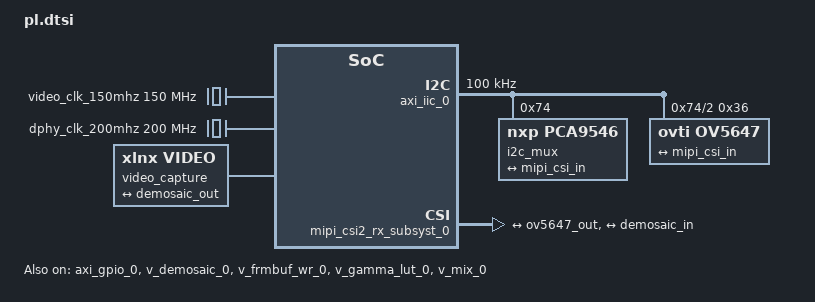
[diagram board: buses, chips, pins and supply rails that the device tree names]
/*
 * KV260 CSI2 Mixer Device Tree Overlay
 *
 * PHYSICAL HARDWARE PATH:
 *
 *   OV5647
 *      |
 *      v
 *   MIPI CSI-2 RX
 *      |
 *      v
 *   Demosaic
 *      |
 *      v
 *   Gamma LUT
 *      |
 *      v
 *   AXIS Broadcaster
 *      |             |
 *      v             v
 *   Mixer Layer 0   Mixer Layer 1
 *          \         /
 *           \       /
 *              Mixer
 *                |
 *                v
 *       Frame Buffer Write
 *                |
 *                v
 *               DDR
 *
 *
 * V4L2 MEDIA GRAPH:
 *
 *   OV5647
 *      |
 *      v
 *   MIPI CSI-2 RX
 *      |
 *      v
 *   Demosaic
 *      |
 *      v
 *   video_capture
 *      |
 *      +---- DMA ----> Frame Buffer Write
 *
 *
 * The V4L2 graph intentionally matches the previously working
 * csi2testing application.
 *
 * Gamma, AXIS Broadcaster and Mixer are physically in the stream,
 * but are not placed downstream of Demosaic in the xlnx,video
 * media graph.
 *
 *
 * I2C:
 *
 * AXI IIC 0x80010000
 *      |
 *      v
 * PCA9546 @ 0x74
 *      |
 * channel 2
 *      |
 *      v
 * OV5647 @ 0x36
 *
 *
 * Resets:
 *
 * GPIO[0] -> Demosaic
 * GPIO[1] -> Frame Buffer Write
 * GPIO[3] -> Gamma LUT
 * GPIO[4] -> Video Mixer
 */


/dts-v1/;
/plugin/;


/* ------------------------------------------------------------------------- */
/* FPGA region                                                               */
/* ------------------------------------------------------------------------- */

&fpga_full {
	firmware-name = "csi2mix_wrapper.bit.bin";
	resets = <&zynqmp_reset 116>;


	/* ----------------------------------------------------------------- */
	/* FCLK input to PL clocking logic                                   */
	/* ----------------------------------------------------------------- */

	clocking0: clocking0 {
		#clock-cells = <0>;

		assigned-clock-rates = <99999001>;
		assigned-clocks = <&zynqmp_clk 71>;

		clock-output-names = "fabric_clk";
		clocks = <&zynqmp_clk 71>;

		compatible = "xlnx,fclk";
	};


	/* ----------------------------------------------------------------- */
	/* AFI configuration                                                 */
	/* ----------------------------------------------------------------- */

	afi0: afi0 {
		compatible = "xlnx,afi-fpga";

		config-afi =
			<0 0>,
			<1 0>,
			<2 0>,
			<3 0>,
			<4 0>,
			<5 0>,
			<6 0>,
			<7 0>,
			<8 0>,
			<9 0>,
			<10 0>,
			<11 0>,
			<12 0>,
			<13 0>,
			<14 0xa00>,
			<15 0x000>;

		resets =
			<&zynqmp_reset 116>,
			<&zynqmp_reset 117>,
			<&zynqmp_reset 118>,
			<&zynqmp_reset 119>;
	};


	/* ----------------------------------------------------------------- */
	/* Physical Clocking Wizard outputs                                  */
	/*                                                                   */
	/* These are NOT fixed-factor derivatives of FCLK0 in Linux.         */
	/* They describe the actual physical clocks generated in the PL.     */
	/* ----------------------------------------------------------------- */

	video_clk_150mhz: csi2-video-clock-150mhz {
		compatible = "fixed-clock";
		#clock-cells = <0>;

		clock-frequency = <150000000>;
		clock-output-names = "csi2mix-video-150mhz";
	};


	dphy_clk_200mhz: csi2-dphy-clock-200mhz {
		compatible = "fixed-clock";
		#clock-cells = <0>;

		clock-frequency = <200000000>;
		clock-output-names = "csi2mix-dphy-200mhz";
	};


	/* ----------------------------------------------------------------- */
	/* OV5647 external XCLK                                              */
	/* ----------------------------------------------------------------- */

	ov5647_xclk: ov5647-xclk {
		compatible = "fixed-clock";
		#clock-cells = <0>;

		clock-frequency = <25000000>;
		clock-output-names = "csi2mix-ov5647-xclk";
	};


	/* ----------------------------------------------------------------- */
	/* Xilinx V4L2 composite capture device                              */
	/*                                                                   */
	/* This intentionally matches the working csi2testing topology.      */
	/*                                                                   */
	/* V4L2 graph terminates at Demosaic.                                */
	/* Frame Buffer Write is referenced separately as the DMA provider.  */
	/* ----------------------------------------------------------------- */

	video_capture: video-capture {
		compatible = "xlnx,video";

		dmas = <&v_frmbuf_wr_0 0>;
		dma-names = "port0";

		status = "okay";

		ports {
			#address-cells = <1>;
			#size-cells = <0>;

			port@0 {
				reg = <0>;
				direction = "input";

				video_capture_in: endpoint {
					remote-endpoint = <&demosaic_out>;
				};
			};
		};
	};
};


/* ------------------------------------------------------------------------- */
/* Programmable-logic peripherals                                            */
/* ------------------------------------------------------------------------- */

&amba {
	#address-cells = <2>;
	#size-cells = <2>;


	/* ----------------------------------------------------------------- */
	/* AXI GPIO                                                          */
	/* ----------------------------------------------------------------- */

	axi_gpio_0: gpio@80000000 {
		compatible =
			"xlnx,axi-gpio-2.0",
			"xlnx,xps-gpio-1.00.a";

		reg = <0x0 0x80000000 0x0 0x10000>;

		clock-names = "s_axi_aclk";
		clocks = <&zynqmp_clk 71>;

		gpio-controller;
		#gpio-cells = <2>;

		xlnx,all-inputs = <0x0>;
		xlnx,all-inputs-2 = <0x0>;

		xlnx,all-outputs = <0x1>;
		xlnx,all-outputs-2 = <0x0>;

		xlnx,dout-default = <0xffffffff>;
		xlnx,dout-default-2 = <0x00000000>;

		/*
		 * GPIO lines 0 through 4 exist in the regenerated design.
		 */
		xlnx,gpio-width = <0x5>;
		xlnx,gpio2-width = <0x20>;

		xlnx,interrupt-present = <0x0>;
		xlnx,is-dual = <0x0>;

		xlnx,tri-default = <0xffffffff>;
		xlnx,tri-default-2 = <0xffffffff>;

		status = "okay";
	};


	/* ----------------------------------------------------------------- */
	/* AXI IIC                                                           */
	/* ----------------------------------------------------------------- */

	axi_iic_0: i2c@80010000 {
		compatible =
			"xlnx,axi-iic-2.1",
			"xlnx,xps-iic-2.00.a";

		reg = <0x0 0x80010000 0x0 0x10000>;

		clock-names = "s_axi_aclk";
		clocks = <&zynqmp_clk 71>;

		/*
		 * Retain the same 100 kHz rate used by the working design.
		 */
		clock-frequency = <100000>;

		interrupt-names = "iic2intc_irpt";
		interrupt-parent = <&gic>;
		interrupts = <0 91 4>;

		#address-cells = <1>;
		#size-cells = <0>;

		status = "okay";


		/* --------------------------------------------------------- */
		/* PCA9546                                                  */
		/* --------------------------------------------------------- */

		i2c_mux: i2c-mux@74 {
			compatible = "nxp,pca9546";
			reg = <0x74>;

			#address-cells = <1>;
			#size-cells = <0>;

			/*
			 * Do NOT add i2c-mux-idle-disconnect.
			 *
			 * The working camera design intentionally left the
			 * selected channel connected across OV5647 accesses.
			 */


			/* ------------------------------------------------- */
			/* Channel 2: Raspberry Pi camera connector          */
			/* ------------------------------------------------- */

			i2c_rpi: i2c@2 {
				reg = <2>;

				#address-cells = <1>;
				#size-cells = <0>;


				/* ----------------------------------------- */
				/* OV5647                                    */
				/* ----------------------------------------- */

				ov5647: camera@36 {
					compatible = "ovti,ov5647";
					reg = <0x36>;

					clocks = <&ov5647_xclk>;
					clock-names = "xclk";

					status = "okay";

					port {
						ov5647_out: endpoint {
							clock-lanes = <0>;
							data-lanes = <1 2>;

							/*
							 * Continuous CSI-2
							 * clocking.
							 */
							remote-endpoint =
								<&mipi_csi_in>;
						};
					};
				};
			};
		};
	};


	/* ----------------------------------------------------------------- */
	/* MIPI CSI-2 RX                                                     */
	/* ----------------------------------------------------------------- */

	mipi_csi2_rx_subsyst_0:
	mipi-csi2-rx-subsystem@80020000 {
		compatible =
			"xlnx,mipi-csi2-rx-subsystem-6.0",
			"xlnx,mipi-csi2-rx-subsystem-5.0";

		reg = <0x0 0x80020000 0x0 0x1000>;

		/*
		 * IMPORTANT:
		 *
		 * These clock references intentionally match the known-working
		 * csi2testing device tree.
		 *
		 * dphy_clk_200M = physical 200 MHz Clocking Wizard output
		 * lite_aclk     = FCLK0 (~100 MHz)
		 * video_aclk    = physical 150 MHz Clocking Wizard output
		 */
		clock-names =
			"dphy_clk_200M",
			"lite_aclk",
			"video_aclk";

		clocks =
			<&dphy_clk_200mhz>,
			<&zynqmp_clk 71>,
			<&video_clk_150mhz>;

		interrupt-names = "csirxss_csi_irq";
		interrupt-parent = <&gic>;
		interrupts = <0 90 4>;

		xlnx,axis-tdata-width = <32>;
		xlnx,csi-pxl-format = <0x2b>;

		xlnx,max-lanes = <2>;
		xlnx,ppc = <1>;
		xlnx,vc = <4>;

		xlnx,vfb;

		status = "okay";


		ports {
			#address-cells = <1>;
			#size-cells = <0>;


			/* ------------------------------------------------- */
			/* OV5647 -> CSI RX                                  */
			/* ------------------------------------------------- */

			port@0 {
				reg = <0>;

				xlnx,video-format = <12>;
				xlnx,video-width = <10>;
				xlnx,cfa-pattern = "bggr";

				mipi_csi_in: endpoint {
					clock-lanes = <0>;
					data-lanes = <1 2>;

					remote-endpoint =
						<&ov5647_out>;
				};
			};


			/* ------------------------------------------------- */
			/* CSI RX -> Demosaic                                */
			/* ------------------------------------------------- */

			port@1 {
				reg = <1>;

				xlnx,video-format = <12>;
				xlnx,video-width = <10>;
				xlnx,cfa-pattern = "bggr";

				mipi_csi_out: endpoint {
					remote-endpoint =
						<&demosaic_in>;
				};
			};
		};
	};


	/* ----------------------------------------------------------------- */
	/* Video Demosaic                                                    */
	/* ----------------------------------------------------------------- */

	v_demosaic_0: v-demosaic@80030000 {
		compatible =
			"xlnx,v-demosaic-1.1",
			"xlnx,v-demosaic";

		reg = <0x0 0x80030000 0x0 0x10000>;

		/*
		 * Physical 150 MHz video-processing clock.
		 */
		clock-names = "ap_clk";
		clocks = <&video_clk_150mhz>;

		interrupt-names = "interrupt";
		interrupt-parent = <&gic>;
		interrupts = <0 92 4>;

		/*
		 * Dedicated reset GPIO line 0.
		 * Flag 1 = active-low.
		 */
		reset-gpios = <&axi_gpio_0 0 1>;

		xlnx,max-height = <2160>;
		xlnx,max-width = <3840>;

		xlnx,s-axi-ctrl-addr-width = <0x6>;
		xlnx,s-axi-ctrl-data-width = <0x20>;

		status = "okay";


		ports {
			#address-cells = <1>;
			#size-cells = <0>;


			/* CSI RX -> Demosaic */
			port@0 {
				reg = <0>;

				xlnx,video-width = <10>;
				xlnx,cfa-pattern = "bggr";

				demosaic_in: endpoint {
					remote-endpoint =
						<&mipi_csi_out>;
				};
			};


			/*
			 * Demosaic -> xlnx,video
			 *
			 * This is deliberately identical to the known-working
			 * csi2testing V4L2 graph.
			 *
			 * Physically, the stream continues into Gamma.
			 */
			port@1 {
				reg = <1>;

				xlnx,video-width = <10>;

				demosaic_out: endpoint {
					remote-endpoint =
						<&video_capture_in>;
				};
			};
		};
	};


	/* ----------------------------------------------------------------- */
	/* Video Frame Buffer Write                                          */
	/* ----------------------------------------------------------------- */

	v_frmbuf_wr_0: v-frmbuf-wr@80040000 {
		compatible =
			"xlnx,v-frmbuf-wr-3.0",
			"xlnx,axi-frmbuf-wr-v2.2";

		reg = <0x0 0x80040000 0x0 0x10000>;

		#dma-cells = <1>;

		/*
		 * Physical 150 MHz video-processing clock.
		 */
		clock-names = "ap_clk";
		clocks = <&video_clk_150mhz>;

		interrupt-names = "interrupt";
		interrupt-parent = <&gic>;
		interrupts = <0 89 4>;

		/*
		 * Dedicated reset GPIO line 1.
		 */
		reset-gpios = <&axi_gpio_0 1 1>;

		xlnx,dma-addr-width = <32>;
		xlnx,dma-align = <8>;

		xlnx,max-height = <2160>;
		xlnx,max-width = <3840>;

		xlnx,pixels-per-clock = <1>;

		xlnx,s-axi-ctrl-addr-width = <0x7>;
		xlnx,s-axi-ctrl-data-width = <0x20>;

		/*
		 * Retain the same enabled formats as the known-working
		 * Frame Buffer Write configuration.
		 */
		xlnx,vid-formats =
			"rgb888",
			"bgr888",
			"xbgr2101010";

		xlnx,video-width = <10>;

		status = "okay";
	};


	/* ----------------------------------------------------------------- */
	/* Video Gamma LUT                                                   */
	/*                                                                   */
	/* Gamma remains a platform/V4L2 subdevice driver, but is NOT part   */
	/* of the xlnx,video graph.                                          */
	/*                                                                   */
	/* Its physical AXI stream remains connected in Vivado:              */
	/*                                                                   */
	/*      Demosaic -> Gamma -> Broadcaster                             */
	/*                                                                   */
	/* The port nodes remain because the Gamma driver uses their          */
	/* xlnx,video-width properties to describe the hardware.             */
	/* ----------------------------------------------------------------- */
	v_gamma_lut_0: v-gamma-lut@80050000 {
		compatible =
			"xlnx,v-gamma-lut-1.1",
			"xlnx,v-gamma-lut";

		reg = <0x0 0x80050000 0x0 0x10000>;

		clock-names = "ap_clk";
		clocks = <&video_clk_150mhz>;

		interrupt-names = "interrupt";
		interrupt-parent = <&gic>;
		interrupts = <0 93 4>;

		reset-gpios = <&axi_gpio_0 3 1>;

		xlnx,max-height = <2160>;
		xlnx,max-width = <3840>;

		xlnx,s-axi-ctrl-addr-width = <13>;
		xlnx,s-axi-ctrl-data-width = <32>;

		status = "okay";


		ports {
			#address-cells = <1>;
			#size-cells = <0>;

			port@0 {
				reg = <0>;
				xlnx,video-width = <10>;
			};

			port@1 {
				reg = <1>;
				xlnx,video-width = <10>;
			};
		};
	};

	/* ----------------------------------------------------------------- */
	/* Video Mixer                                                       */
	/*                                                                   */
	/* Mixer is controlled by the Xilinx DRM mixer driver and is NOT     */
	/* part of the xlnx,video V4L2 graph.                                */
	/*                                                                   */
	/* The physical streaming connections are established in Vivado.     */
	/* ----------------------------------------------------------------- */
	v_mix_0: v-mix@80060000 {
		compatible =
			"xlnx,v-mix-5.3",
			"xlnx,mixer-3.0",
			"xlnx,mixer-4.0",
			"xlnx,mixer-5.0";

		reg = <0x0 0x80060000 0x0 0x10000>;

		clock-names = "ap_clk";
		clocks = <&video_clk_150mhz>;

		interrupt-names = "interrupt";
		interrupt-parent = <&gic>;
		interrupts = <0 94 4>;

		reset-gpios = <&axi_gpio_0 4 1>;

		xlnx,bpc = <10>;

		xlnx,dma-addr-width = <32>;
		xlnx,num-layers = <2>;
		xlnx,ppc = <1>;

		status = "okay";



		layer_0 {
			xlnx,layer-id = <0>;

			xlnx,layer-max-height = <2160>;
			xlnx,layer-max-width = <3840>;

			xlnx,layer-primary;
			xlnx,layer-streaming;

			xlnx,vformat = "BG24";
		};



		layer_1 {
			xlnx,layer-id = <1>;

			xlnx,layer-max-height = <2160>;
			xlnx,layer-max-width = <3840>;

			xlnx,layer-scale;
			xlnx,layer-streaming;

			xlnx,vformat = "BG24";
		};
	};
};

